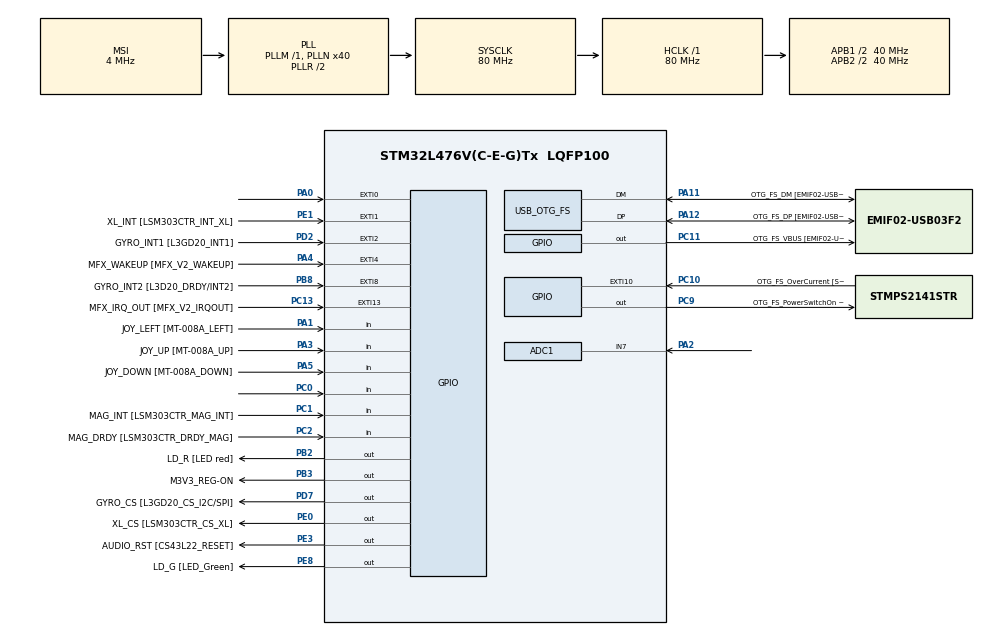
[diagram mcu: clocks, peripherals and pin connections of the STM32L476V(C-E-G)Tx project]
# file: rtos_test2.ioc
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ADC1.Channel-0\#ChannelRegularConversion=ADC_CHANNEL_7
ADC1.EnableAnalogWatchDog1=false
ADC1.NbrOfConversionFlag=1
ADC1.OffsetNumber-0\#ChannelRegularConversion=ADC_OFFSET_NONE
ADC1.Rank-0\#ChannelRegularConversion=1
ADC1.SamplingTime-0\#ChannelRegularConversion=ADC_SAMPLETIME_2CYCLES_5
ADC1.master=1
FREERTOS.Tasks01=defaultTask,24,128,StartDefaultTask,Default,NULL,Dynamic,NULL,NULL;blink,8,128,StartBlink,Default,NULL,Dynamic,NULL,NULL
Mcu.Family=STM32L4
Mcu.Name=STM32L476V(C-E-G)Tx
Mcu.Package=LQFP100
NVIC.ADC1_2_IRQn=true\:0\:0\:false\:true\:true\:3\:false\:true\:true
NVIC.EXTI0_IRQn=true\:15\:0\:true\:true\:true\:2\:false\:true\:true
NVIC.OTG_FS_IRQn=true\:0\:0\:false\:true\:true\:1\:false\:true\:true
NVIC.PriorityGroup=NVIC_PRIORITYGROUP_4
NVIC.TIM6_DAC_IRQn=true\:0\:0\:false\:false\:true\:false\:false\:true
NVIC.TimeBase=TIM6_DAC_IRQn
NVIC.TimeBaseIP=TIM6
PA0.GPIO_PuPd=GPIO_PULLDOWN
PA0.Signal=GPXTI0
PA1.GPIO_Label=JOY_LEFT [MT-008A_LEFT]
PA1.GPIO_Mode=GPIO_MODE_INPUT
PA1.GPIO_PuPd=GPIO_PULLDOWN
PA1.Signal=GPIO_Input
PA10.GPIO_Label=COM2 [GH08172T_COM2]
PA10.GPIO_Mode=GPIO_MODE_AF_PP
PA10.GPIO_PuPd=GPIO_NOPULL
PA10.GPIO_Speed=GPIO_SPEED_FREQ_LOW
PA10.Signal=LCD_COM2
PA11.GPIO_Label=OTG_FS_DM [EMIF02-USB03F2_D-out]
PA11.GPIO_Mode=GPIO_MODE_AF_PP
PA11.GPIO_PuPd=GPIO_NOPULL
PA11.GPIO_Speed=GPIO_SPEED_FREQ_VERY_HIGH
PA11.Mode=Device_Only
PA11.Signal=USB_OTG_FS_DM
PA12.GPIO_Label=OTG_FS_DP [EMIF02-USB03F2_D+out]
PA12.GPIO_Mode=GPIO_MODE_AF_PP
PA12.GPIO_PuPd=GPIO_NOPULL
PA12.GPIO_Speed=GPIO_SPEED_FREQ_VERY_HIGH
PA12.Mode=Device_Only
PA12.Signal=USB_OTG_FS_DP
PA13\ (JTMS-SWDIO).GPIO_Label=SWDIO
PA13\ (JTMS-SWDIO).Mode=Serial_Wire
PA13\ (JTMS-SWDIO).Signal=SYS_JTMS-SWDIO
PA14\ (JTCK-SWCLK).GPIO_Label=SWCLK
PA14\ (JTCK-SWCLK).Mode=Serial_Wire
PA14\ (JTCK-SWCLK).Signal=SYS_JTCK-SWCLK
PA15\ (JTDI).GPIO_Label=SEG10 [GH08172T_SEG10]
PA15\ (JTDI).GPIO_Mode=GPIO_MODE_AF_PP
PA15\ (JTDI).GPIO_PuPd=GPIO_NOPULL
PA15\ (JTDI).GPIO_Speed=GPIO_SPEED_FREQ_LOW
PA15\ (JTDI).Signal=LCD_SEG17
PA2.Signal=ADCx_IN7
PA3.GPIO_Label=JOY_UP [MT-008A_UP]
PA3.GPIO_Mode=GPIO_MODE_INPUT
PA3.GPIO_PuPd=GPIO_PULLDOWN
PA3.Signal=GPIO_Input
PA4.GPIO_Label=MFX_WAKEUP [MFX_V2_WAKEUP]
PA4.GPIO_ModeDefaultEXTI=GPIO_MODE_EVT_RISING
PA4.GPIO_PuPd=GPIO_NOPULL
PA4.Signal=GPXTI4
PA5.GPIO_Label=JOY_DOWN [MT-008A_DOWN]
PA5.GPIO_Mode=GPIO_MODE_INPUT
PA5.GPIO_PuPd=GPIO_PULLDOWN
PA5.Signal=GPIO_Input
PA6.GPIO_Label=SEG23 [GH08172T_SEG23]
PA6.GPIO_Mode=GPIO_MODE_AF_PP
PA6.GPIO_PuPd=GPIO_NOPULL
PA6.GPIO_Speed=GPIO_SPEED_FREQ_LOW
PA6.Signal=LCD_SEG3
PA7.GPIO_Label=SEG0 [GH08172T_SEG0]
PA7.GPIO_Mode=GPIO_MODE_AF_PP
PA7.GPIO_PuPd=GPIO_NOPULL
PA7.GPIO_Speed=GPIO_SPEED_FREQ_LOW
PA7.Signal=LCD_SEG4
PA8.GPIO_Label=COM0 [GH08172T_COM0]
PA8.GPIO_Mode=GPIO_MODE_AF_PP
PA8.GPIO_PuPd=GPIO_NOPULL
PA8.GPIO_Speed=GPIO_SPEED_FREQ_LOW
PA8.Signal=LCD_COM0
PA9.GPIO_Label=COM1 [GH08172T_COM1]
PA9.GPIO_Mode=GPIO_MODE_AF_PP
PA9.GPIO_PuPd=GPIO_NOPULL
PA9.GPIO_Speed=GPIO_SPEED_FREQ_LOW
PA9.Signal=LCD_COM1
PB0.GPIO_Label=SEG21 [GH08172T_SEG21]
PB0.GPIO_Mode=GPIO_MODE_AF_PP
PB0.GPIO_PuPd=GPIO_NOPULL
PB0.GPIO_Speed=GPIO_SPEED_FREQ_LOW
PB0.Signal=LCD_SEG5
PB1.GPIO_Label=SEG2 [GH08172T_SEG2]
PB1.GPIO_Mode=GPIO_MODE_AF_PP
PB1.GPIO_PuPd=GPIO_NOPULL
PB1.GPIO_Speed=GPIO_SPEED_FREQ_LOW
PB1.Signal=LCD_SEG6
PB10.GPIO_Label=MFX_I2C_SLC [MFX_V2_I2C_SCL]
PB10.GPIO_Mode=GPIO_MODE_AF_OD
PB10.GPIO_PuPdOD=GPIO_PULLUP
PB10.GPIO_Speed=GPIO_SPEED_FREQ_VERY_HIGH
PB10.Signal=I2C2_SCL
PB11.GPIO_Label=MFX_I2C_SDA [MFX_V2_I2C_SDA]
PB11.GPIO_Mode=GPIO_MODE_AF_OD
PB11.GPIO_PuPdOD=GPIO_PULLUP
PB11.GPIO_Speed=GPIO_SPEED_FREQ_VERY_HIGH
PB11.Signal=I2C2_SDA
PB12.GPIO_Label=SEG20 [GH08172T_SEG20]
PB12.GPIO_Mode=GPIO_MODE_AF_PP
PB12.GPIO_PuPd=GPIO_NOPULL
PB12.GPIO_Speed=GPIO_SPEED_FREQ_LOW
PB12.Signal=LCD_SEG12
PB13.GPIO_Label=SEG3 [GH08172T_SEG3]
PB13.GPIO_Mode=GPIO_MODE_AF_PP
PB13.GPIO_PuPd=GPIO_NOPULL
PB13.GPIO_Speed=GPIO_SPEED_FREQ_LOW
PB13.Signal=LCD_SEG13
PB14.GPIO_Label=SEG19 [GH08172T_SEG19]
PB14.GPIO_Mode=GPIO_MODE_AF_PP
PB14.GPIO_PuPd=GPIO_NOPULL
PB14.GPIO_Speed=GPIO_SPEED_FREQ_LOW
PB14.Signal=LCD_SEG14
PB15.GPIO_Label=SEG4 [GH08172T_SEG4]
PB15.GPIO_Mode=GPIO_MODE_AF_PP
PB15.GPIO_PuPd=GPIO_NOPULL
PB15.GPIO_Speed=GPIO_SPEED_FREQ_LOW
PB15.Signal=LCD_SEG15
PB2.GPIO_Label=LD_R [LED red]
PB2.GPIO_ModeDefaultOutputPP=GPIO_MODE_OUTPUT_PP
PB2.GPIO_PuPd=GPIO_PULLUP
PB2.GPIO_Speed=GPIO_SPEED_FREQ_VERY_HIGH
PB2.Signal=GPIO_Output
PB3\ (JTDO-TRACESWO).GPIO_Label=M3V3_REG-ON
PB3\ (JTDO-TRACESWO).GPIO_ModeDefaultOutputPP=GPIO_MODE_OUTPUT_PP
PB3\ (JTDO-TRACESWO).GPIO_PuPd=GPIO_NOPULL
PB3\ (JTDO-TRACESWO).GPIO_Speed=GPIO_SPEED_FREQ_LOW
PB3\ (JTDO-TRACESWO).Signal=GPIO_Output
PB4\ (NJTRST).GPIO_Label=SEG11 [GH08172T_SEG11]
PB4\ (NJTRST).GPIO_Mode=GPIO_MODE_AF_PP
PB4\ (NJTRST).GPIO_PuPd=GPIO_NOPULL
PB4\ (NJTRST).GPIO_Speed=GPIO_SPEED_FREQ_LOW
PB4\ (NJTRST).Signal=LCD_SEG8
PB5.GPIO_Label=SEG12 [GH08172T_SEG12]
PB5.GPIO_Mode=GPIO_MODE_AF_PP
PB5.GPIO_PuPd=GPIO_NOPULL
PB5.GPIO_Speed=GPIO_SPEED_FREQ_LOW
PB5.Signal=LCD_SEG9
PB6.GPIO_FM6=__NULL
PB6.GPIO_Label=I2C1_SCL [SSM-104-L-DH_SCL]
PB6.GPIO_Mode=GPIO_MODE_AF_OD
PB6.GPIO_PuPdOD=GPIO_PULLUP
PB6.GPIO_Speed=GPIO_SPEED_FREQ_VERY_HIGH
PB6.Signal=I2C1_SCL
PB7.GPIO_FM7=__NULL
PB7.GPIO_Label=I2C1_SDA [SSM-104-L-DH_SDA]
PB7.GPIO_Mode=GPIO_MODE_AF_OD
PB7.GPIO_PuPdOD=GPIO_PULLUP
PB7.GPIO_Speed=GPIO_SPEED_FREQ_VERY_HIGH
PB7.Signal=I2C1_SDA
PB8.GPIO_Label=GYRO_INT2 [L3D20_DRDY/INT2]
PB8.GPIO_ModeDefaultEXTI=GPIO_MODE_EVT_RISING
PB8.GPIO_PuPd=GPIO_NOPULL
PB8.Signal=GPXTI8
PB9.GPIO_FM9=__NULL
PB9.GPIO_Label=COM3 [GH08172T_COM3]
PB9.GPIO_Mode=GPIO_MODE_AF_PP
PB9.GPIO_PuPd=GPIO_NOPULL
PB9.GPIO_Speed=GPIO_SPEED_FREQ_LOW
PB9.Signal=LCD_COM3
PC0.Signal=GPIO_Input
PC1.GPIO_Label=MAG_INT [LSM303CTR_MAG_INT]
PC1.GPIO_Mode=GPIO_MODE_INPUT
PC1.GPIO_PuPd=GPIO_NOPULL
PC1.Signal=GPIO_Input
PC10.GPIO_Label=OTG_FS_OverCurrent [STMPS2141STR_FAULT]
PC10.GPIO_ModeDefaultEXTI=GPIO_MODE_EVT_RISING
PC10.GPIO_PuPd=GPIO_NOPULL
PC10.Signal=GPXTI10
PC11.GPIO_Label=OTG_FS_VBUS [EMIF02-USB03F2_Vbus]
PC11.GPIO_ModeDefaultOutputPP=GPIO_MODE_OUTPUT_PP
PC11.GPIO_PuPd=GPIO_NOPULL
PC11.GPIO_Speed=GPIO_SPEED_FREQ_LOW
PC11.Signal=GPIO_Output
PC13.GPIO_Label=MFX_IRQ_OUT [MFX_V2_IRQOUT]
PC13.GPIO_ModeDefaultEXTI=GPIO_MODE_EVT_RISING
PC13.GPIO_PuPd=GPIO_NOPULL
PC13.Signal=GPXTI13
PC14-OSC32_IN\ (PC14).Mode=LSE-External-Oscillator
PC14-OSC32_IN\ (PC14).Signal=RCC_OSC32_IN
PC15-OSC32_OUT\ (PC15).Mode=LSE-External-Oscillator
PC15-OSC32_OUT\ (PC15).Signal=RCC_OSC32_OUT
PC2.GPIO_Label=MAG_DRDY [LSM303CTR_DRDY_MAG]
PC2.GPIO_Mode=GPIO_MODE_INPUT
PC2.GPIO_PuPd=GPIO_NOPULL
PC2.Signal=GPIO_Input
PC3.GPIO_Label=VLCD
PC3.GPIO_Mode=GPIO_MODE_AF_PP
PC3.GPIO_PuPd=GPIO_NOPULL
PC3.GPIO_Speed=GPIO_SPEED_FREQ_LOW
PC3.Signal=LCD_VLCD
PC4.GPIO_Label=SEG22 [GH08172T_SEG22]
PC4.GPIO_Mode=GPIO_MODE_AF_PP
PC4.GPIO_PuPd=GPIO_NOPULL
PC4.GPIO_Speed=GPIO_SPEED_FREQ_LOW
PC4.Signal=LCD_SEG22
PC5.GPIO_Label=SEG1 [GH08172T_SEG1]
PC5.GPIO_Mode=GPIO_MODE_AF_PP
PC5.GPIO_PuPd=GPIO_NOPULL
PC5.GPIO_Speed=GPIO_SPEED_FREQ_LOW
PC5.Signal=LCD_SEG23
PC6.GPIO_Label=SEG14 [GH08172T_SEG14]
PC6.GPIO_Mode=GPIO_MODE_AF_PP
PC6.GPIO_PuPd=GPIO_NOPULL
PC6.GPIO_Speed=GPIO_SPEED_FREQ_LOW
PC6.Signal=LCD_SEG24
PC7.GPIO_Label=SEG9 [GH08172T_SEG9]
PC7.GPIO_Mode=GPIO_MODE_AF_PP
PC7.GPIO_PuPd=GPIO_NOPULL
PC7.GPIO_Speed=GPIO_SPEED_FREQ_LOW
PC7.Signal=LCD_SEG25
PC8.GPIO_Label=SEG13 [GH08172T_SEG13]
PC8.GPIO_Mode=GPIO_MODE_AF_PP
PC8.GPIO_PuPd=GPIO_NOPULL
PC8.GPIO_Speed=GPIO_SPEED_FREQ_LOW
PC8.Signal=LCD_SEG26
PC9.GPIO_Label=OTG_FS_PowerSwitchOn [STMPS2141STR_EN]
PC9.GPIO_ModeDefaultOutputPP=GPIO_MODE_OUTPUT_PP
PC9.GPIO_PuPd=GPIO_NOPULL
PC9.GPIO_Speed=GPIO_SPEED_FREQ_LOW
PC9.PinState=GPIO_PIN_SET
PC9.Signal=GPIO_Output
PD1.GPIO_Label=MEMS_SCK [L3GD20_SCL/SPC]
PD1.GPIO_Mode=GPIO_MODE_AF_PP
PD1.GPIO_PuPd=GPIO_NOPULL
PD1.GPIO_Speed=GPIO_SPEED_FREQ_VERY_HIGH
PD1.Signal=SPI2_SCK
PD10.GPIO_Label=SEG17 [GH08172T_SEG17]
PD10.GPIO_Mode=GPIO_MODE_AF_PP
PD10.GPIO_PuPd=GPIO_NOPULL
PD10.GPIO_Speed=GPIO_SPEED_FREQ_LOW
PD10.Signal=LCD_SEG30
PD11.GPIO_Label=SEG6 [GH08172T_SEG6]
PD11.GPIO_Mode=GPIO_MODE_AF_PP
PD11.GPIO_PuPd=GPIO_NOPULL
PD11.GPIO_Speed=GPIO_SPEED_FREQ_LOW
PD11.Signal=LCD_SEG31
PD12.GPIO_Label=SEG16 [GH08172T_SEG16]
PD12.GPIO_Mode=GPIO_MODE_AF_PP
PD12.GPIO_PuPd=GPIO_NOPULL
PD12.GPIO_Speed=GPIO_SPEED_FREQ_LOW
PD12.Signal=LCD_SEG32
PD13.GPIO_Label=SEG7 [GH08172T_SEG7]
PD13.GPIO_Mode=GPIO_MODE_AF_PP
PD13.GPIO_PuPd=GPIO_NOPULL
PD13.GPIO_Speed=GPIO_SPEED_FREQ_LOW
PD13.Signal=LCD_SEG33
PD14.GPIO_Label=SEG15 [GH08172T_SEG15]
PD14.GPIO_Mode=GPIO_MODE_AF_PP
PD14.GPIO_PuPd=GPIO_NOPULL
PD14.GPIO_Speed=GPIO_SPEED_FREQ_LOW
PD14.Signal=LCD_SEG34
PD15.GPIO_Label=SEG8 [GH08172T_SEG8]
PD15.GPIO_Mode=GPIO_MODE_AF_PP
PD15.GPIO_PuPd=GPIO_NOPULL
PD15.GPIO_Speed=GPIO_SPEED_FREQ_LOW
PD15.Signal=LCD_SEG35
PD2.GPIO_Label=GYRO_INT1 [L3GD20_INT1]
PD2.GPIO_ModeDefaultEXTI=GPIO_MODE_EVT_RISING
PD2.GPIO_PuPd=GPIO_NOPULL
PD2.Signal=GPXTI2
PD3.GPIO_Label=MEMS_MISO [L3GD20_SA0/SDO]
PD3.GPIO_Mode=GPIO_MODE_AF_PP
PD3.GPIO_PuPd=GPIO_NOPULL
PD3.GPIO_Speed=GPIO_SPEED_FREQ_VERY_HIGH
PD3.Signal=SPI2_MISO
PD4.GPIO_Label=MEMS_MOSI [L3GD20_SDA/SDI/SDO]
PD4.GPIO_Mode=GPIO_MODE_AF_PP
PD4.GPIO_PuPd=GPIO_NOPULL
PD4.GPIO_Speed=GPIO_SPEED_FREQ_VERY_HIGH
PD4.Signal=SPI2_MOSI
PD5.GPIO_Label=USART_TX
PD5.GPIO_Mode=GPIO_MODE_AF_PP
PD5.GPIO_PuPd=GPIO_PULLUP
PD5.GPIO_Speed=GPIO_SPEED_FREQ_VERY_HIGH
PD5.Signal=USART2_TX
PD6.GPIO_Label=USART_RX
PD6.GPIO_Mode=GPIO_MODE_AF_PP
PD6.GPIO_PuPd=GPIO_PULLUP
PD6.GPIO_Speed=GPIO_SPEED_FREQ_VERY_HIGH
PD6.Signal=USART2_RX
PD7.GPIO_Label=GYRO_CS [L3GD20_CS_I2C/SPI]
PD7.GPIO_ModeDefaultOutputPP=GPIO_MODE_OUTPUT_PP
PD7.GPIO_PuPd=GPIO_NOPULL
PD7.GPIO_Speed=GPIO_SPEED_FREQ_VERY_HIGH
PD7.Signal=GPIO_Output
PD8.GPIO_Label=SEG18 [GH08172T_SEG18]
PD8.GPIO_Mode=GPIO_MODE_AF_PP
PD8.GPIO_PuPd=GPIO_NOPULL
PD8.GPIO_Speed=GPIO_SPEED_FREQ_LOW
PD8.Signal=LCD_SEG28
PD9.GPIO_Label=SEG5 [GH08172T_SEG5]
PD9.GPIO_Mode=GPIO_MODE_AF_PP
PD9.GPIO_PuPd=GPIO_NOPULL
PD9.GPIO_Speed=GPIO_SPEED_FREQ_LOW
PD9.Signal=LCD_SEG29
PE0.GPIO_Label=XL_CS [LSM303CTR_CS_XL]
PE0.GPIO_ModeDefaultOutputPP=GPIO_MODE_OUTPUT_PP
PE0.GPIO_PuPd=GPIO_NOPULL
PE0.GPIO_Speed=GPIO_SPEED_FREQ_LOW
PE0.Signal=GPIO_Output
PE1.GPIO_Label=XL_INT [LSM303CTR_INT_XL]
PE1.GPIO_ModeDefaultEXTI=GPIO_MODE_EVT_RISING
PE1.GPIO_PuPd=GPIO_NOPULL
PE1.Signal=GPXTI1
PE10.GPIO_Label=QSPI_CLK [N25Q128A13EF840E_C]
PE10.GPIO_Mode=GPIO_MODE_AF_PP
PE10.GPIO_PuPd=GPIO_NOPULL
PE10.GPIO_Speed=GPIO_SPEED_FREQ_VERY_HIGH
PE10.Signal=QUADSPI_CLK
PE11.GPIO_Label=QSPI_CS [N25Q128A13EF840E_S\#]
PE11.GPIO_Mode=GPIO_MODE_AF_PP
PE11.GPIO_PuPd=GPIO_NOPULL
PE11.GPIO_Speed=GPIO_SPEED_FREQ_VERY_HIGH
PE11.Signal=QUADSPI_NCS
PE12.GPIO_Label=QSPI_D0 [N25Q128A13EF840E_DQ0]
PE12.GPIO_Mode=GPIO_MODE_AF_PP
PE12.GPIO_PuPd=GPIO_NOPULL
PE12.GPIO_Speed=GPIO_SPEED_FREQ_VERY_HIGH
PE12.Signal=QUADSPI_BK1_IO0
PE13.GPIO_Label=QSPI_D1 [N25Q128A13EF840E_DQ1]
PE13.GPIO_Mode=GPIO_MODE_AF_PP
PE13.GPIO_PuPd=GPIO_NOPULL
PE13.GPIO_Speed=GPIO_SPEED_FREQ_VERY_HIGH
PE13.Signal=QUADSPI_BK1_IO1
PE14.GPIO_Label=QSPI_D2 [N25Q128A13EF840E_DQ2]
PE14.GPIO_Mode=GPIO_MODE_AF_PP
PE14.GPIO_PuPd=GPIO_NOPULL
PE14.GPIO_Speed=GPIO_SPEED_FREQ_VERY_HIGH
PE14.Signal=QUADSPI_BK1_IO2
PE15.Signal=FMC_DA12
PE2.GPIO_Label=SAI1_MCK [CS43L22_MCLK]
PE2.GPIO_Mode=GPIO_MODE_AF_PP
PE2.GPIO_PuPd=GPIO_NOPULL
PE2.GPIO_Speed=GPIO_SPEED_FREQ_VERY_HIGH
PE2.Signal=SAI1_MCLK_A
PE3.GPIO_Label=AUDIO_RST [CS43L22_RESET]
PE3.GPIO_ModeDefaultOutputPP=GPIO_MODE_OUTPUT_PP
PE3.GPIO_PuPd=GPIO_NOPULL
PE3.GPIO_Speed=GPIO_SPEED_FREQ_HIGH
PE3.Signal=GPIO_Output
PE4.GPIO_Label=SAI1_FS [CS43L22_LRCK]
PE4.GPIO_Mode=GPIO_MODE_AF_PP
PE4.GPIO_PuPd=GPIO_NOPULL
PE4.GPIO_Speed=GPIO_SPEED_FREQ_VERY_HIGH
PE4.Signal=SAI1_FS_A
PE5.GPIO_Label=SAI1_SCK [CS43L22_SCLK]
PE5.GPIO_Mode=GPIO_MODE_AF_PP
PE5.GPIO_PuPd=GPIO_NOPULL
PE5.GPIO_Speed=GPIO_SPEED_FREQ_VERY_HIGH
PE5.Signal=SAI1_SCK_A
PE6.GPIO_Label=SAI1_SD [CS43L22_SDIN]
PE6.GPIO_Mode=GPIO_MODE_AF_PP
PE6.GPIO_PuPd=GPIO_NOPULL
PE6.GPIO_Speed=GPIO_SPEED_FREQ_VERY_HIGH
PE6.Signal=SAI1_SD_A
PE7.GPIO_Label=AUDIO_DIN [MP34DT01_DOUT]
PE7.GPIO_Mode=GPIO_MODE_AF_PP
PE7.GPIO_PuPd=GPIO_NOPULL
PE7.GPIO_Speed=GPIO_SPEED_FREQ_VERY_HIGH
PE7.Signal=SAI1_SD_B
PE8.GPIO_Label=LD_G [LED_Green]
PE8.GPIO_ModeDefaultOutputPP=GPIO_MODE_OUTPUT_PP
PE8.GPIO_PuPd=GPIO_PULLUP
PE8.GPIO_Speed=GPIO_SPEED_FREQ_VERY_HIGH
PE8.Signal=GPIO_Output
PE9.GPIO_Label=AUDIO_CLK [MP34DT01_CLK]
PE9.GPIO_Mode=GPIO_MODE_AF_PP
PE9.GPIO_PuPd=GPIO_NOPULL
PE9.GPIO_Speed=GPIO_SPEED_FREQ_LOW
PE9.Signal=SAI1_FS_B
PH0-OSC_IN\ (PH0).Mode=HSE-External-Oscillator
PH0-OSC_IN\ (PH0).Signal=RCC_OSC_IN
PH1-OSC_OUT\ (PH1).Mode=HSE-External-Oscillator
PH1-OSC_OUT\ (PH1).Signal=RCC_OSC_OUT
ProjectManager.HeapSize=0x200
ProjectManager.StackSize=0x400
ProjectManager.TargetToolchain=STM32CubeIDE
RCC.ADCFreq_Value=48000000
RCC.AHBFreq_Value=80000000
RCC.APB1CLKDivider=RCC_HCLK_DIV2
RCC.APB1Freq_Value=40000000
RCC.APB1TimFreq_Value=80000000
RCC.APB2CLKDivider=RCC_HCLK_DIV2
RCC.APB2Freq_Value=40000000
RCC.APB2TimFreq_Value=80000000
RCC.CortexFreq_Value=80000000
RCC.HCLKFreq_Value=80000000
RCC.HSE_VALUE=8000000
RCC.HSI_VALUE=16000000
RCC.MSI_VALUE=4000000
RCC.PLLN=40
RCC.PLLSAI1N=24
RCC.PREFETCH_ENABLE=1
RCC.SYSCLKFreq_VALUE=80000000
RCC.SYSCLKSource=RCC_SYSCLKSOURCE_PLLCLK
RCC.USBFreq_Value=48000000
RCC.VCOOutputFreq_Value=160000000
SH.ADCx_IN7.0=ADC1_IN7,IN7-Single-Ended
USB_DEVICE.CLASS_NAME_FS=CDC
USB_DEVICE.VirtualMode=Cdc
USB_DEVICE.VirtualModeFS=Cdc_FS
USB_OTG_FS.VirtualMode=Device_Only
VP_FREERTOS_VS_CMSIS_V2.Mode=CMSIS_V2
VP_SYS_VS_tim6.Mode=TIM6
VP_USB_DEVICE_VS_USB_DEVICE_CDC_FS.Mode=CDC_FS
board=STM32L476G-DISCO

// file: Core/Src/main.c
/* USER CODE BEGIN Header */
/**
  ******************************************************************************
  * @file           : main.c
  * @brief          : Main program body
  ******************************************************************************
  * @attention
  *
  * <h2><center>&copy; Copyright (c) 2020 STMicroelectronics.
  * All rights reserved.</center></h2>
  *
  * This software component is licensed by ST under Ultimate Liberty license
  * SLA0044, the "License"; You may not use this file except in compliance with
  * the License. You may obtain a copy of the License at:
  *                             www.st.com/SLA0044
  *
  ******************************************************************************
  */
/* USER CODE END Header */
#include "main.h"
#include "cmsis_os.h"
#include "usb_device.h"

/* USER CODE BEGIN Includes */
#include "usbd_cdc_if.h"
/* USER CODE END Includes */

ADC_HandleTypeDef hadc1;

/* Definitions for defaultTask */
osThreadId_t defaultTaskHandle;
const osThreadAttr_t defaultTask_attributes = {
  .name = "defaultTask",
  .priority = (osPriority_t) osPriorityNormal,
  .stack_size = 128 * 4
};
/* Definitions for blink */
osThreadId_t blinkHandle;
const osThreadAttr_t blink_attributes = {
  .name = "blink",
  .priority = (osPriority_t) osPriorityLow,
  .stack_size = 128 * 4
};

void SystemClock_Config(void);
static void MX_GPIO_Init(void);
static void MX_ADC1_Init(void);
void StartDefaultTask(void *argument);
void StartBlink(void *argument);

static void MX_NVIC_Init(void);

int main(void)
{

  /* MCU Configuration--------------------------------------------------------*/

  /* Reset of all peripherals, Initializes the Flash interface and the Systick. */
  HAL_Init();

  /* Configure the system clock */
  SystemClock_Config();

  /* Initialize all configured peripherals */
  MX_GPIO_Init();
  MX_ADC1_Init();

  /* Initialize interrupts */
  MX_NVIC_Init();

  /* Init scheduler */
  osKernelInitialize();

  /* Create the thread(s) */
  /* creation of defaultTask */
  defaultTaskHandle = osThreadNew(StartDefaultTask, NULL, &defaultTask_attributes);

  /* creation of blink */
  blinkHandle = osThreadNew(StartBlink, NULL, &blink_attributes);

  /* Start scheduler */
  osKernelStart();

  /* We should never get here as control is now taken by the scheduler */
  /* Infinite loop */
  while (1)
  {

  }
}

void SystemClock_Config(void)
{
  RCC_OscInitTypeDef RCC_OscInitStruct = {0};
  RCC_ClkInitTypeDef RCC_ClkInitStruct = {0};
  RCC_PeriphCLKInitTypeDef PeriphClkInit = {0};

  /** Configure LSE Drive Capability
  */
  HAL_PWR_EnableBkUpAccess();
  __HAL_RCC_LSEDRIVE_CONFIG(RCC_LSEDRIVE_LOW);
  /** Initializes the RCC Oscillators according to the specified parameters
  * in the RCC_OscInitTypeDef structure.
  */
  RCC_OscInitStruct.OscillatorType = RCC_OSCILLATORTYPE_LSE|RCC_OSCILLATORTYPE_MSI;
  RCC_OscInitStruct.LSEState = RCC_LSE_ON;
  RCC_OscInitStruct.MSIState = RCC_MSI_ON;
  RCC_OscInitStruct.MSICalibrationValue = 0;
  RCC_OscInitStruct.MSIClockRange = RCC_MSIRANGE_6;
  RCC_OscInitStruct.PLL.PLLState = RCC_PLL_ON;
  RCC_OscInitStruct.PLL.PLLSource = RCC_PLLSOURCE_MSI;
  RCC_OscInitStruct.PLL.PLLM = 1;
  RCC_OscInitStruct.PLL.PLLN = 40;
  RCC_OscInitStruct.PLL.PLLP = RCC_PLLP_DIV7;
  RCC_OscInitStruct.PLL.PLLQ = RCC_PLLQ_DIV2;
  RCC_OscInitStruct.PLL.PLLR = RCC_PLLR_DIV2;
  if (HAL_RCC_OscConfig(&RCC_OscInitStruct) != HAL_OK)
  {
    Error_Handler();
  }
  /** Initializes the CPU, AHB and APB buses clocks
  */
  RCC_ClkInitStruct.ClockType = RCC_CLOCKTYPE_HCLK|RCC_CLOCKTYPE_SYSCLK
                              |RCC_CLOCKTYPE_PCLK1|RCC_CLOCKTYPE_PCLK2;
  RCC_ClkInitStruct.SYSCLKSource = RCC_SYSCLKSOURCE_PLLCLK;
  RCC_ClkInitStruct.AHBCLKDivider = RCC_SYSCLK_DIV1;
  RCC_ClkInitStruct.APB1CLKDivider = RCC_HCLK_DIV2;
  RCC_ClkInitStruct.APB2CLKDivider = RCC_HCLK_DIV2;

  if (HAL_RCC_ClockConfig(&RCC_ClkInitStruct, FLASH_LATENCY_4) != HAL_OK)
  {
    Error_Handler();
  }
  PeriphClkInit.PeriphClockSelection = RCC_PERIPHCLK_USB|RCC_PERIPHCLK_ADC;
  PeriphClkInit.AdcClockSelection = RCC_ADCCLKSOURCE_PLLSAI1;
  PeriphClkInit.UsbClockSelection = RCC_USBCLKSOURCE_PLLSAI1;
  PeriphClkInit.PLLSAI1.PLLSAI1Source = RCC_PLLSOURCE_MSI;
  PeriphClkInit.PLLSAI1.PLLSAI1M = 1;
  PeriphClkInit.PLLSAI1.PLLSAI1N = 24;
  PeriphClkInit.PLLSAI1.PLLSAI1P = RCC_PLLP_DIV7;
  PeriphClkInit.PLLSAI1.PLLSAI1Q = RCC_PLLQ_DIV2;
  PeriphClkInit.PLLSAI1.PLLSAI1R = RCC_PLLR_DIV2;
  PeriphClkInit.PLLSAI1.PLLSAI1ClockOut = RCC_PLLSAI1_48M2CLK|RCC_PLLSAI1_ADC1CLK;
  if (HAL_RCCEx_PeriphCLKConfig(&PeriphClkInit) != HAL_OK)
  {
    Error_Handler();
  }
  /** Configure the main internal regulator output voltage
  */
  if (HAL_PWREx_ControlVoltageScaling(PWR_REGULATOR_VOLTAGE_SCALE1) != HAL_OK)
  {
    Error_Handler();
  }
  /** Enable MSI Auto calibration
  */
  HAL_RCCEx_EnableMSIPLLMode();
}

/**
  * @brief NVIC Configuration.
  * @retval None
  */
static void MX_NVIC_Init(void)
{
  /* OTG_FS_IRQn interrupt configuration */
  HAL_NVIC_SetPriority(OTG_FS_IRQn, 0, 0);
  HAL_NVIC_EnableIRQ(OTG_FS_IRQn);
  /* EXTI0_IRQn interrupt configuration */
  HAL_NVIC_SetPriority(EXTI0_IRQn, 15, 0);
  HAL_NVIC_EnableIRQ(EXTI0_IRQn);
  /* ADC1_2_IRQn interrupt configuration */
  HAL_NVIC_SetPriority(ADC1_2_IRQn, 0, 0);
  HAL_NVIC_EnableIRQ(ADC1_2_IRQn);
}

static void MX_ADC1_Init(void)
{

  ADC_MultiModeTypeDef multimode = {0};
  ADC_ChannelConfTypeDef sConfig = {0};

  /** Common config
  */
  hadc1.Instance = ADC1;
  hadc1.Init.ClockPrescaler = ADC_CLOCK_ASYNC_DIV1;
  hadc1.Init.Resolution = ADC_RESOLUTION_12B;
  hadc1.Init.DataAlign = ADC_DATAALIGN_RIGHT;
  hadc1.Init.ScanConvMode = ADC_SCAN_DISABLE;
  hadc1.Init.EOCSelection = ADC_EOC_SINGLE_CONV;
  hadc1.Init.LowPowerAutoWait = DISABLE;
  hadc1.Init.ContinuousConvMode = DISABLE;
  hadc1.Init.NbrOfConversion = 1;
  hadc1.Init.DiscontinuousConvMode = DISABLE;
  hadc1.Init.ExternalTrigConv = ADC_SOFTWARE_START;
  hadc1.Init.ExternalTrigConvEdge = ADC_EXTERNALTRIGCONVEDGE_NONE;
  hadc1.Init.DMAContinuousRequests = DISABLE;
  hadc1.Init.Overrun = ADC_OVR_DATA_PRESERVED;
  hadc1.Init.OversamplingMode = DISABLE;
  if (HAL_ADC_Init(&hadc1) != HAL_OK)
  {
    Error_Handler();
  }
  /** Configure the ADC multi-mode
  */
  multimode.Mode = ADC_MODE_INDEPENDENT;
  if (HAL_ADCEx_MultiModeConfigChannel(&hadc1, &multimode) != HAL_OK)
  {
    Error_Handler();
  }
  /** Configure Regular Channel
  */
  sConfig.Channel = ADC_CHANNEL_7;
  sConfig.Rank = ADC_REGULAR_RANK_1;
  sConfig.SamplingTime = ADC_SAMPLETIME_2CYCLES_5;
  sConfig.SingleDiff = ADC_SINGLE_ENDED;
  sConfig.OffsetNumber = ADC_OFFSET_NONE;
  sConfig.Offset = 0;
  if (HAL_ADC_ConfigChannel(&hadc1, &sConfig) != HAL_OK)
  {
    Error_Handler();
  }

}

static void MX_GPIO_Init(void)
{
  GPIO_InitTypeDef GPIO_InitStruct = {0};

  /* GPIO Ports Clock Enable */
  __HAL_RCC_GPIOE_CLK_ENABLE();
  __HAL_RCC_GPIOC_CLK_ENABLE();
  __HAL_RCC_GPIOH_CLK_ENABLE();
  __HAL_RCC_GPIOA_CLK_ENABLE();
  __HAL_RCC_GPIOB_CLK_ENABLE();
  __HAL_RCC_GPIOD_CLK_ENABLE();

  /*Configure GPIO pin Output Level */
  HAL_GPIO_WritePin(GPIOE, AUDIO_RST_Pin|LD_G_Pin|XL_CS_Pin, GPIO_PIN_RESET);

  /*Configure GPIO pin Output Level */
  HAL_GPIO_WritePin(GPIOB, LD_R_Pin|M3V3_REG_ON_Pin, GPIO_PIN_RESET);

  /*Configure GPIO pin Output Level */
  HAL_GPIO_WritePin(OTG_FS_PowerSwitchOn_GPIO_Port, OTG_FS_PowerSwitchOn_Pin, GPIO_PIN_SET);

  /*Configure GPIO pin Output Level */
  HAL_GPIO_WritePin(OTG_FS_VBUS_GPIO_Port, OTG_FS_VBUS_Pin, GPIO_PIN_RESET);

  /*Configure GPIO pin Output Level */
  HAL_GPIO_WritePin(GYRO_CS_GPIO_Port, GYRO_CS_Pin, GPIO_PIN_RESET);

  /*Configure GPIO pins : SAI1_MCK_Pin SAI1_FS_Pin SAI1_SCK_Pin SAI1_SD_Pin
                           AUDIO_DIN_Pin */
  GPIO_InitStruct.Pin = SAI1_MCK_Pin|SAI1_FS_Pin|SAI1_SCK_Pin|SAI1_SD_Pin
                          |AUDIO_DIN_Pin;
  GPIO_InitStruct.Mode = GPIO_MODE_AF_PP;
  GPIO_InitStruct.Pull = GPIO_NOPULL;
  GPIO_InitStruct.Speed = GPIO_SPEED_FREQ_VERY_HIGH;
  GPIO_InitStruct.Alternate = GPIO_AF13_SAI1;
  HAL_GPIO_Init(GPIOE, &GPIO_InitStruct);

  /*Configure GPIO pin : AUDIO_RST_Pin */
  GPIO_InitStruct.Pin = AUDIO_RST_Pin;
  GPIO_InitStruct.Mode = GPIO_MODE_OUTPUT_PP;
  GPIO_InitStruct.Pull = GPIO_NOPULL;
  GPIO_InitStruct.Speed = GPIO_SPEED_FREQ_HIGH;
  HAL_GPIO_Init(AUDIO_RST_GPIO_Port, &GPIO_InitStruct);

  /*Configure GPIO pins : MFX_IRQ_OUT_Pin OTG_FS_OverCurrent_Pin */
  GPIO_InitStruct.Pin = MFX_IRQ_OUT_Pin|OTG_FS_OverCurrent_Pin;
  GPIO_InitStruct.Mode = GPIO_MODE_EVT_RISING;
  GPIO_InitStruct.Pull = GPIO_NOPULL;
  HAL_GPIO_Init(GPIOC, &GPIO_InitStruct);

  /*Configure GPIO pins : PC0 MAG_INT_Pin MAG_DRDY_Pin */
  GPIO_InitStruct.Pin = GPIO_PIN_0|MAG_INT_Pin|MAG_DRDY_Pin;
  GPIO_InitStruct.Mode = GPIO_MODE_INPUT;
  GPIO_InitStruct.Pull = GPIO_NOPULL;
  HAL_GPIO_Init(GPIOC, &GPIO_InitStruct);

  /*Configure GPIO pins : VLCD_Pin SEG22_Pin SEG1_Pin SEG14_Pin
                           SEG9_Pin SEG13_Pin */
  GPIO_InitStruct.Pin = VLCD_Pin|SEG22_Pin|SEG1_Pin|SEG14_Pin
                          |SEG9_Pin|SEG13_Pin;
  GPIO_InitStruct.Mode = GPIO_MODE_AF_PP;
  GPIO_InitStruct.Pull = GPIO_NOPULL;
  GPIO_InitStruct.Speed = GPIO_SPEED_FREQ_LOW;
  GPIO_InitStruct.Alternate = GPIO_AF11_LCD;
  HAL_GPIO_Init(GPIOC, &GPIO_InitStruct);

  /*Configure GPIO pin : PA0 */
  GPIO_InitStruct.Pin = GPIO_PIN_0;
  GPIO_InitStruct.Mode = GPIO_MODE_IT_RISING;
  GPIO_InitStruct.Pull = GPIO_PULLDOWN;
  HAL_GPIO_Init(GPIOA, &GPIO_InitStruct);

  /*Configure GPIO pins : JOY_LEFT_Pin JOY_UP_Pin JOY_DOWN_Pin */
  GPIO_InitStruct.Pin = JOY_LEFT_Pin|JOY_UP_Pin|JOY_DOWN_Pin;
  GPIO_InitStruct.Mode = GPIO_MODE_INPUT;
  GPIO_InitStruct.Pull = GPIO_PULLDOWN;
  HAL_GPIO_Init(GPIOA, &GPIO_InitStruct);

  /*Configure GPIO pin : MFX_WAKEUP_Pin */
  GPIO_InitStruct.Pin = MFX_WAKEUP_Pin;
  GPIO_InitStruct.Mode = GPIO_MODE_EVT_RISING;
  GPIO_InitStruct.Pull = GPIO_NOPULL;
  HAL_GPIO_Init(MFX_WAKEUP_GPIO_Port, &GPIO_InitStruct);

  /*Configure GPIO pins : SEG23_Pin SEG0_Pin COM0_Pin COM1_Pin
                           COM2_Pin SEG10_Pin */
  GPIO_InitStruct.Pin = SEG23_Pin|SEG0_Pin|COM0_Pin|COM1_Pin
                          |COM2_Pin|SEG10_Pin;
  GPIO_InitStruct.Mode = GPIO_MODE_AF_PP;
  GPIO_InitStruct.Pull = GPIO_NOPULL;
  GPIO_InitStruct.Speed = GPIO_SPEED_FREQ_LOW;
  GPIO_InitStruct.Alternate = GPIO_AF11_LCD;
  HAL_GPIO_Init(GPIOA, &GPIO_InitStruct);

  /*Configure GPIO pins : SEG21_Pin SEG2_Pin SEG20_Pin SEG3_Pin
                           SEG19_Pin SEG4_Pin SEG11_Pin SEG12_Pin
                           COM3_Pin */
  GPIO_InitStruct.Pin = SEG21_Pin|SEG2_Pin|SEG20_Pin|SEG3_Pin
                          |SEG19_Pin|SEG4_Pin|SEG11_Pin|SEG12_Pin
                          |COM3_Pin;
  GPIO_InitStruct.Mode = GPIO_MODE_AF_PP;
  GPIO_InitStruct.Pull = GPIO_NOPULL;
  GPIO_InitStruct.Speed = GPIO_SPEED_FREQ_LOW;
  GPIO_InitStruct.Alternate = GPIO_AF11_LCD;
  HAL_GPIO_Init(GPIOB, &GPIO_InitStruct);

  /*Configure GPIO pin : LD_R_Pin */
  GPIO_InitStruct.Pin = LD_R_Pin;
  GPIO_InitStruct.Mode = GPIO_MODE_OUTPUT_PP;
  GPIO_InitStruct.Pull = GPIO_PULLUP;
  GPIO_InitStruct.Speed = GPIO_SPEED_FREQ_VERY_HIGH;
  HAL_GPIO_Init(LD_R_GPIO_Port, &GPIO_InitStruct);

  /*Configure GPIO pin : LD_G_Pin */
  GPIO_InitStruct.Pin = LD_G_Pin;
  GPIO_InitStruct.Mode = GPIO_MODE_OUTPUT_PP;
  GPIO_InitStruct.Pull = GPIO_PULLUP;
  GPIO_InitStruct.Speed = GPIO_SPEED_FREQ_VERY_HIGH;
  HAL_GPIO_Init(LD_G_GPIO_Port, &GPIO_InitStruct);

  /*Configure GPIO pin : AUDIO_CLK_Pin */
  GPIO_InitStruct.Pin = AUDIO_CLK_Pin;
  GPIO_InitStruct.Mode = GPIO_MODE_AF_PP;
  GPIO_InitStruct.Pull = GPIO_NOPULL;
  GPIO_InitStruct.Speed = GPIO_SPEED_FREQ_LOW;
  GPIO_InitStruct.Alternate = GPIO_AF13_SAI1;
  HAL_GPIO_Init(AUDIO_CLK_GPIO_Port, &GPIO_InitStruct);

  /*Configure GPIO pins : QSPI_CLK_Pin QSPI_CS_Pin QSPI_D0_Pin QSPI_D1_Pin
                           QSPI_D2_Pin */
  GPIO_InitStruct.Pin = QSPI_CLK_Pin|QSPI_CS_Pin|QSPI_D0_Pin|QSPI_D1_Pin
                          |QSPI_D2_Pin;
  GPIO_InitStruct.Mode = GPIO_MODE_AF_PP;
  GPIO_InitStruct.Pull = GPIO_NOPULL;
  GPIO_InitStruct.Speed = GPIO_SPEED_FREQ_VERY_HIGH;
  GPIO_InitStruct.Alternate = GPIO_AF10_QUADSPI;
  HAL_GPIO_Init(GPIOE, &GPIO_InitStruct);

  /*Configure GPIO pin : PE15 */
  GPIO_InitStruct.Pin = GPIO_PIN_15;
  GPIO_InitStruct.Mode = GPIO_MODE_AF_PP;
  GPIO_InitStruct.Pull = GPIO_NOPULL;
  GPIO_InitStruct.Speed = GPIO_SPEED_FREQ_VERY_HIGH;
  GPIO_InitStruct.Alternate = GPIO_AF12_FMC;
  HAL_GPIO_Init(GPIOE, &GPIO_InitStruct);

  /*Configure GPIO pins : MFX_I2C_SLC_Pin MFX_I2C_SDA_Pin */
  GPIO_InitStruct.Pin = MFX_I2C_SLC_Pin|MFX_I2C_SDA_Pin;
  GPIO_InitStruct.Mode = GPIO_MODE_AF_OD;
  GPIO_InitStruct.Pull = GPIO_PULLUP;
  GPIO_InitStruct.Speed = GPIO_SPEED_FREQ_VERY_HIGH;
  GPIO_InitStruct.Alternate = GPIO_AF4_I2C2;
  HAL_GPIO_Init(GPIOB, &GPIO_InitStruct);

  /*Configure GPIO pins : SEG18_Pin SEG5_Pin SEG17_Pin SEG6_Pin
                           SEG16_Pin SEG7_Pin SEG15_Pin SEG8_Pin */
  GPIO_InitStruct.Pin = SEG18_Pin|SEG5_Pin|SEG17_Pin|SEG6_Pin
                          |SEG16_Pin|SEG7_Pin|SEG15_Pin|SEG8_Pin;
  GPIO_InitStruct.Mode = GPIO_MODE_AF_PP;
  GPIO_InitStruct.Pull = GPIO_NOPULL;
  GPIO_InitStruct.Speed = GPIO_SPEED_FREQ_LOW;
  GPIO_InitStruct.Alternate = GPIO_AF11_LCD;
  HAL_GPIO_Init(GPIOD, &GPIO_InitStruct);

  /*Configure GPIO pins : OTG_FS_PowerSwitchOn_Pin OTG_FS_VBUS_Pin */
  GPIO_InitStruct.Pin = OTG_FS_PowerSwitchOn_Pin|OTG_FS_VBUS_Pin;
  GPIO_InitStruct.Mode = GPIO_MODE_OUTPUT_PP;
  GPIO_InitStruct.Pull = GPIO_NOPULL;
  GPIO_InitStruct.Speed = GPIO_SPEED_FREQ_LOW;
  HAL_GPIO_Init(GPIOC, &GPIO_InitStruct);

  /*Configure GPIO pins : MEMS_SCK_Pin MEMS_MISO_Pin MEMS_MOSI_Pin */
  GPIO_InitStruct.Pin = MEMS_SCK_Pin|MEMS_MISO_Pin|MEMS_MOSI_Pin;
  GPIO_InitStruct.Mode = GPIO_MODE_AF_PP;
  GPIO_InitStruct.Pull = GPIO_NOPULL;
  GPIO_InitStruct.Speed = GPIO_SPEED_FREQ_VERY_HIGH;
  GPIO_InitStruct.Alternate = GPIO_AF5_SPI2;
  HAL_GPIO_Init(GPIOD, &GPIO_InitStruct);

  /*Configure GPIO pin : GYRO_INT1_Pin */
  GPIO_InitStruct.Pin = GYRO_INT1_Pin;
  GPIO_InitStruct.Mode = GPIO_MODE_EVT_RISING;
  GPIO_InitStruct.Pull = GPIO_NOPULL;
  HAL_GPIO_Init(GYRO_INT1_GPIO_Port, &GPIO_InitStruct);

  /*Configure GPIO pins : USART_TX_Pin USART_RX_Pin */
  GPIO_InitStruct.Pin = USART_TX_Pin|USART_RX_Pin;
  GPIO_InitStruct.Mode = GPIO_MODE_AF_PP;
  GPIO_InitStruct.Pull = GPIO_PULLUP;
  GPIO_InitStruct.Speed = GPIO_SPEED_FREQ_VERY_HIGH;
  GPIO_InitStruct.Alternate = GPIO_AF7_USART2;
  HAL_GPIO_Init(GPIOD, &GPIO_InitStruct);

  /*Configure GPIO pin : GYRO_CS_Pin */
  GPIO_InitStruct.Pin = GYRO_CS_Pin;
  GPIO_InitStruct.Mode = GPIO_MODE_OUTPUT_PP;
  GPIO_InitStruct.Pull = GPIO_NOPULL;
  GPIO_InitStruct.Speed = GPIO_SPEED_FREQ_VERY_HIGH;
  HAL_GPIO_Init(GYRO_CS_GPIO_Port, &GPIO_InitStruct);

  /*Configure GPIO pin : M3V3_REG_ON_Pin */
  GPIO_InitStruct.Pin = M3V3_REG_ON_Pin;
  GPIO_InitStruct.Mode = GPIO_MODE_OUTPUT_PP;
  GPIO_InitStruct.Pull = GPIO_NOPULL;
  GPIO_InitStruct.Speed = GPIO_SPEED_FREQ_LOW;
  HAL_GPIO_Init(M3V3_REG_ON_GPIO_Port, &GPIO_InitStruct);

  /*Configure GPIO pins : I2C1_SCL_Pin I2C1_SDA_Pin */
  GPIO_InitStruct.Pin = I2C1_SCL_Pin|I2C1_SDA_Pin;
  GPIO_InitStruct.Mode = GPIO_MODE_AF_OD;
  GPIO_InitStruct.Pull = GPIO_PULLUP;
  GPIO_InitStruct.Speed = GPIO_SPEED_FREQ_VERY_HIGH;
  GPIO_InitStruct.Alternate = GPIO_AF4_I2C1;
  HAL_GPIO_Init(GPIOB, &GPIO_InitStruct);

  /*Configure GPIO pin : GYRO_INT2_Pin */
  GPIO_InitStruct.Pin = GYRO_INT2_Pin;
  GPIO_InitStruct.Mode = GPIO_MODE_EVT_RISING;
  GPIO_InitStruct.Pull = GPIO_NOPULL;
  HAL_GPIO_Init(GYRO_INT2_GPIO_Port, &GPIO_InitStruct);

  /*Configure GPIO pin : XL_CS_Pin */
  GPIO_InitStruct.Pin = XL_CS_Pin;
  GPIO_InitStruct.Mode = GPIO_MODE_OUTPUT_PP;
  GPIO_InitStruct.Pull = GPIO_NOPULL;
  GPIO_InitStruct.Speed = GPIO_SPEED_FREQ_LOW;
  HAL_GPIO_Init(XL_CS_GPIO_Port, &GPIO_InitStruct);

  /*Configure GPIO pin : XL_INT_Pin */
  GPIO_InitStruct.Pin = XL_INT_Pin;
  GPIO_InitStruct.Mode = GPIO_MODE_EVT_RISING;
  GPIO_InitStruct.Pull = GPIO_NOPULL;
  HAL_GPIO_Init(XL_INT_GPIO_Port, &GPIO_InitStruct);

}

/* USER CODE BEGIN 4 */
void HAL_GPIO_EXTI_Callback(uint16_t GPIO_Pin) {
	if(GPIO_Pin == GPIO_PIN_0){
		// Wake up the StartBlink Task
		BaseType_t taskWoken = pdFALSE;
		vTaskNotifyGiveFromISR(blinkHandle, &taskWoken);
	}
}

/* USER CODE END 4 */

/* USER CODE BEGIN 4 */

volatile uint8_t adcflag = 0;
volatile uint32_t adcval = 0;

// So this function gets called by HAL_ADC_IRQHandler upon an ADC IRQ with the EOC and EOS flags set (I think)
// This function needs to set a flag in order for the main program to know that the data from the adc
// has been retreived (or something else, just PollForConversion will no longer work)
void HAL_ADC_ConvCpltCallback(ADC_HandleTypeDef *hadc){
	adcval = HAL_ADC_GetValue(&hadc1);
	adcflag = 1;
}
/* USER CODE END 4 */

void StartDefaultTask(void *argument)
{
  /* init code for USB_DEVICE */
  MX_USB_DEVICE_Init();
  /* USER CODE BEGIN 5 */
  /* Infinite loop */
  for(;;)
  {
	  // To read from the ADC, you apparently need to start a conversion,
	  // wait for the conversion to complete, then read the ADC value
	  HAL_ADC_Start_IT(&hadc1);

	  // Wait until an ADC_ConvCpltCallback
	  while(!adcflag) {}
	  // ADC data available in adcval
	  adcflag = 0;

	  // Send a message over the USB port
	  unsigned char buffer[50];
	  snprintf((char*)buffer, sizeof(buffer)-1, "adc val: %ld\r\n", adcval);
	  CDC_Transmit_FS(buffer, strlen(buffer));
	  osDelay(1000);
  }
  /* USER CODE END 5 */
}

/* USER CODE BEGIN Header_StartBlink */
/* Example of how to wait for a pin to change state. GPIO Pin PA0 is
   configured as an EXTI Interrupt which triggers the
   HAL_GIO_EXTI_Callback function above. Interrupt handling can be
   done in that function, however for lengthy tasks (such as setting a
   gpio pin, waiting for 1s, then clearing it)

   In this case, I have the EXTI interrupt callback set up to notify
   the StartBlink function when it is called, waking up the StartBlink
   function and allowing it to do its thing
 */

/* USER CODE END Header_StartBlink */
void StartBlink(void *argument)
{
  /* USER CODE BEGIN StartBlink */
  /* Infinite loop */
  for(;;)
  {
	  // Wait for wakeup event
	  int notifiedvalue = ulTaskNotifyTake(pdFALSE, -1);
	  if(notifiedvalue > 0){
		  // do whatever. In this case, light the led for 1 second
		  HAL_GPIO_WritePin(GPIOE, LD_G_Pin, GPIO_PIN_SET);
		  osDelay(1000);
		  HAL_GPIO_WritePin(GPIOE, LD_G_Pin, GPIO_PIN_RESET);
	  }
      osDelay(500);
  }
  /* USER CODE END StartBlink */
}

void HAL_TIM_PeriodElapsedCallback(TIM_HandleTypeDef *htim)
{
  if (htim->Instance == TIM6) {
    HAL_IncTick();
  }
}

void Error_Handler(void)
{
}

/************************ (C) COPYRIGHT STMicroelectronics *****END OF FILE****/
